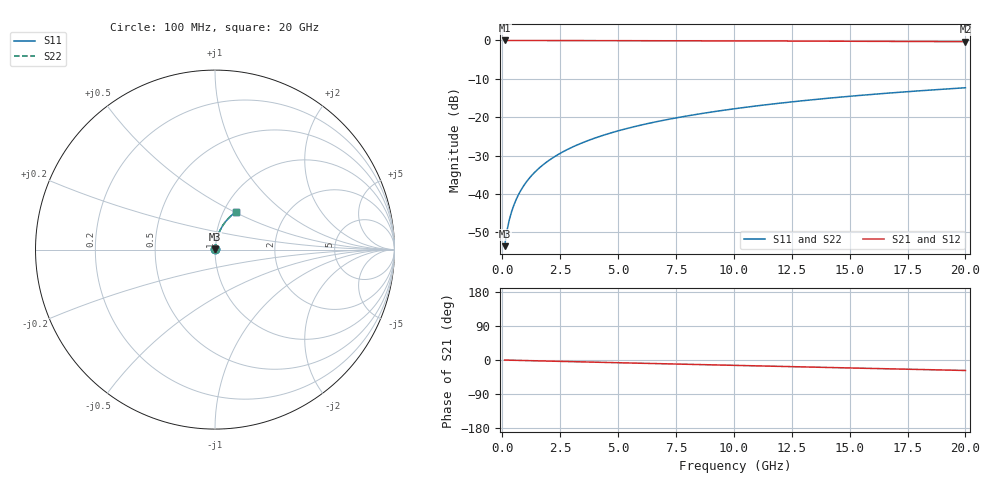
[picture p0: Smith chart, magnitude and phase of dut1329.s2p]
! Touchstone file exported from HFSS 2026.1.0
!  File:  C:/ffzhzh/LocalFiles/Ansys_Project_Files/temp_train_TMRDL_1329_1783165176_18472.aedt
!  Generated:  07:40:54 PM Jul  4, 2026
!  Design:  TMRDL
!  Project:  temp_train_TMRDL_1329_1783165176_18472
! Variables:
!  h_bsmrdl = 2um
!  h_ox = 20um
!  h_rdl = 5um
!  h_sub = 80um
!  h_tmrdl = 4.68um
!  h_tsv = 80um
!  h_via = 3um
!  l_bsmrdl = 300um
!  l_sub = 797.16um
!  l_tmrdl = 397.16um
!  m_sub = 200um
!  pitch = 46.95um
!  r_tsv = 6um
!  s_tmrdl = 10um
!  w_bsmrdl = 18um
!  w_sub = 500um
!  w_tmrdl = 23.46um
!  x_tsv_center1 = 408.89um
!  x_tsv_center2 = 726.89um
!  x_tsv_center3 = 1147.51um
!  x_tsv_center4 = 1465.51um
!  x_tsv_center5 = 1886.13um
!  x_tsv_center6 = 2204.13um
# GHz S MA R 50.000000
! Terminal data exported
! Port[1] = TM_RDL1_1_T1
! Port[2] = TM_RDL1_1_T2
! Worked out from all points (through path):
!   200 points, 100 MHz to 20 GHz, reference 50 ohm
!   highest |S21| = -0.01 dB at 100 MHz (marker M1); lowest = -0.3 dB at 20 GHz (marker M2)
!   group delay of S21, straight-line fit = 3.84 ps
!   lowest |S11| = -53.6 dB at 100 MHz (marker M3), VSWR 1.00, Z = 50.1 + j0.15 ohm
!   |S11| at or under -10 dB: start of sweep to end of sweep
!   |S22| runs from -53.6 to -12.3 dB; largest |S21 - S12| = 2.3e-15
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0.1  0.002096 45.6  0.9985 -0.2  0.9985 -0.2  0.002096 45.6
! Gamma 0 0 0 0
! Port Impedance 50 0 50 0
0.2  0.003311 61.4  0.9984 -0.3  0.9984 -0.3  0.003311 61.4
0.3  0.004585 68.5  0.9983 -0.4  0.9983 -0.4  0.004585 68.5
0.4  0.005876 72.5  0.9983 -0.6  0.9983 -0.6  0.005876 72.5
0.5  0.007181 75.2  0.9982 -0.7  0.9982 -0.7  0.007181 75.2
0.6  0.008498 77.0  0.9982 -0.9  0.9982 -0.9  0.008499 77.0
0.8  0.01116 79.4  0.9981 -1.2  0.9981 -1.2  0.01116 79.4
1.1  0.01517 81.1  0.998 -1.6  0.998 -1.6  0.01517 81.1
1.5  0.02054 82.1  0.9977 -2.2  0.9977 -2.2  0.02054 82.1
1.8  0.02456 82.4  0.9975 -2.6  0.9975 -2.6  0.02456 82.4
2.1  0.02857 82.4  0.9973 -3.1  0.9973 -3.1  0.02857 82.4
2.7  0.03654 82.1  0.9968 -3.9  0.9968 -3.9  0.03654 82.1
3.5  0.04706 81.4  0.996 -5.1  0.996 -5.1  0.04706 81.4
4.2  0.05616 80.6  0.9952 -6.1  0.9952 -6.1  0.05616 80.6
5  0.06644 79.7  0.9942 -7.2  0.9942 -7.2  0.06644 79.7
5.9  0.07789 78.6  0.9929 -8.5  0.9929 -8.5  0.07789 78.6
6.8  0.08922 77.5  0.9916 -9.7  0.9916 -9.7  0.08922 77.5
8.3  0.1079 75.6  0.9892 -11.8  0.9892 -11.8  0.1079 75.6
10.1  0.1298 73.3  0.9861 -14.3  0.9861 -14.3  0.1298 73.3
13.4  0.1689 69.1  0.9794 -18.8  0.9794 -18.8  0.169 69.1
16.7  0.2064 64.8  0.9716 -23.3  0.9716 -23.3  0.2064 64.8
20  0.2418 60.6  0.9629 -27.7  0.9629 -27.7  0.2418 60.6
